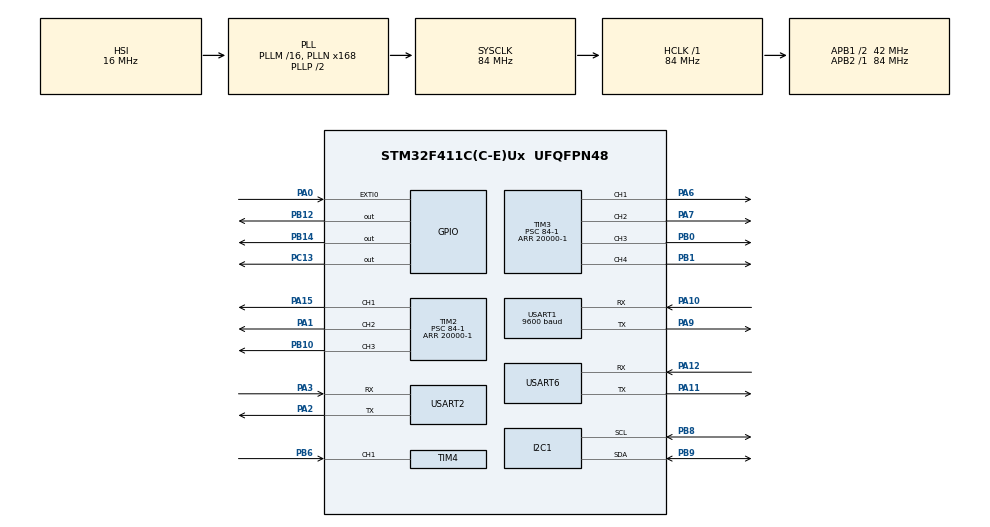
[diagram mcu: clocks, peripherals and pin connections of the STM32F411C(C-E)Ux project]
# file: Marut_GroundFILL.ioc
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FREERTOS.BinarySemaphores01=timer_sem,Dynamic,NULL,Available
FREERTOS.Tasks01=ArmDisarm,8,128,arm_disarm,Default,NULL,Static,ArmDisarmBuffer,ArmDisarmControlBlock;ModeHandler,8,128,mode_handler,Default,NULL,Static,ModeHandlerBuffer,ModeHandlerControlBlock;Debounce_Handle,8,128,debounce_task,Default,NULL,Static,Debounce_HandleBuffer,Debounce_HandleControlBlock;QuadTask,48,2024,quad_mode,Default,NULL,Static,QuadTaskBuffer,QuadTaskControlBlock;TelemetryTask,24,2024,telemetry_task,Default,NULL,Static,TelemetryTaskBuffer,TelemetryTaskControlBlock;FixedWingTask,48,2024,fw_mode,Default,NULL,Static,FixedWingTaskBuffer,FixedWingTaskControlBlock;VtolMode,48,2024,vtol_task,Default,NULL,Static,VtolModeBuffer,VtolModeControlBlock
FREERTOS.configENABLE_FPU=1
FREERTOS.configTOTAL_HEAP_SIZE=60000
FREERTOS.configUSE_NEWLIB_REENTRANT=1
I2C1.I2C_Mode=I2C_Fast
Mcu.Family=STM32F4
Mcu.Name=STM32F411C(C-E)Ux
Mcu.Package=UFQFPN48
NVIC.EXTI0_IRQn=true\:5\:0\:false\:false\:true\:true\:true\:true\:true
NVIC.PriorityGroup=NVIC_PRIORITYGROUP_4
NVIC.TIM1_TRG_COM_TIM11_IRQn=true\:15\:0\:false\:false\:true\:false\:false\:true\:true
NVIC.TIM1_UP_TIM10_IRQn=true\:5\:0\:false\:false\:true\:true\:true\:true\:true
NVIC.TimeBase=TIM1_TRG_COM_TIM11_IRQn
NVIC.TimeBaseIP=TIM11
PA0-WKUP.GPIO_ModeDefaultEXTI=GPIO_MODE_IT_FALLING
PA0-WKUP.GPIO_PuPd=GPIO_PULLUP
PA0-WKUP.Signal=GPXTI0
PA1.Signal=S_TIM2_CH2
PA10.Mode=Asynchronous
PA10.Signal=USART1_RX
PA11.Mode=Asynchronous
PA11.Signal=USART6_TX
PA12.Mode=Asynchronous
PA12.Signal=USART6_RX
PA13.Mode=Serial_Wire
PA13.Signal=SYS_JTMS-SWDIO
PA14.Mode=Serial_Wire
PA14.Signal=SYS_JTCK-SWCLK
PA15.Signal=S_TIM2_CH1_ETR
PA2.Mode=Asynchronous
PA2.Signal=USART2_TX
PA3.Mode=Asynchronous
PA3.Signal=USART2_RX
PA6.Signal=S_TIM3_CH1
PA7.Signal=S_TIM3_CH2
PA9.Mode=Asynchronous
PA9.Signal=USART1_TX
PB0.Signal=S_TIM3_CH3
PB1.Signal=S_TIM3_CH4
PB10.Signal=S_TIM2_CH3
PB12.Signal=GPIO_Output
PB14.Signal=GPIO_Output
PB6.Signal=S_TIM4_CH1
PB8.GPIO_Pu=GPIO_PULLUP
PB8.Mode=I2C
PB8.Signal=I2C1_SCL
PB9.GPIO_Pu=GPIO_PULLUP
PB9.Mode=I2C
PB9.Signal=I2C1_SDA
PC13-ANTI_TAMP.Signal=GPIO_Output
ProjectManager.HeapSize=0x200
ProjectManager.StackSize=0x400
ProjectManager.TargetToolchain=STM32CubeIDE
RCC.48MHZClocksFreq_Value=42000000
RCC.AHBFreq_Value=84000000
RCC.APB1CLKDivider=RCC_HCLK_DIV2
RCC.APB1Freq_Value=42000000
RCC.APB1TimFreq_Value=84000000
RCC.APB2Freq_Value=84000000
RCC.APB2TimFreq_Value=84000000
RCC.CortexFreq_Value=84000000
RCC.HCLKFreq_Value=84000000
RCC.HSE_VALUE=25000000
RCC.HSI_VALUE=16000000
RCC.LSE_VALUE=32768
RCC.PLLN=168
RCC.SYSCLKFreq_VALUE=84000000
RCC.SYSCLKSource=RCC_SYSCLKSOURCE_PLLCLK
RCC.VCOOutputFreq_Value=168000000
SH.S_TIM2_CH1_ETR.0=TIM2_CH1,PWM Generation1 CH1
SH.S_TIM2_CH2.0=TIM2_CH2,PWM Generation2 CH2
SH.S_TIM2_CH3.0=TIM2_CH3,PWM Generation3 CH3
SH.S_TIM3_CH1.0=TIM3_CH1,PWM Generation1 CH1
SH.S_TIM3_CH2.0=TIM3_CH2,PWM Generation2 CH2
SH.S_TIM3_CH3.0=TIM3_CH3,PWM Generation3 CH3
SH.S_TIM3_CH4.0=TIM3_CH4,PWM Generation4 CH4
SH.S_TIM4_CH1.0=TIM4_CH1,Input_Capture1_from_TI1
TIM10.Period=2499
TIM10.Prescaler=83
TIM2.Channel-PWM\ Generation1\ CH1=TIM_CHANNEL_1
TIM2.Channel-PWM\ Generation2\ CH2=TIM_CHANNEL_2
TIM2.Channel-PWM\ Generation3\ CH3=TIM_CHANNEL_3
TIM2.Period=20000-1
TIM2.Prescaler=84-1
TIM3.Channel-PWM\ Generation1\ CH1=TIM_CHANNEL_1
TIM3.Channel-PWM\ Generation2\ CH2=TIM_CHANNEL_2
TIM3.Channel-PWM\ Generation3\ CH3=TIM_CHANNEL_3
TIM3.Channel-PWM\ Generation4\ CH4=TIM_CHANNEL_4
TIM3.Period=20000-1
TIM3.Prescaler=84-1
TIM4.Channel-Input_Capture1_from_TI1=TIM_CHANNEL_1
TIM4.Prescaler=84-1
TIM9.Prescaler=84-1
USART1.BaudRate=9600
USART1.VirtualMode=VM_ASYNC
USART2.VirtualMode=VM_ASYNC
USART6.VirtualMode=VM_ASYNC
VP_FREERTOS_VS_CMSIS_V2.Mode=CMSIS_V2
VP_SYS_VS_tim11.Mode=TIM11
VP_TIM10_VS_ClockSourceINT.Mode=Enable_Timer
VP_TIM2_VS_ClockSourceINT.Mode=Internal
VP_TIM3_VS_ClockSourceINT.Mode=Internal
VP_TIM4_VS_ClockSourceINT.Mode=Internal
VP_TIM9_VS_ClockSourceINT.Mode=Internal
board=custom

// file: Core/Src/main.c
/* USER CODE BEGIN Header */
/**
 ******************************************************************************
 * @file           : main.c
 * @brief          : Main program body
 ******************************************************************************
 * @attention
 *
 * Copyright (c) 2026 STMicroelectronics.
 * All rights reserved.
 *
 * This software is licensed under terms that can be found in the LICENSE file
 * in the root directory of this software component.
 * If no LICENSE file comes with this software, it is provided AS-IS.
 *
 ******************************************************************************
 */
/* USER CODE END Header */

#include "main.h"
#include "cmsis_os.h"

/* USER CODE BEGIN Includes */

#include "mpu6050.h"
#include "bmp280.h"
#include <stdio.h>
#include <string.h>
#include <math.h>
#include "mav_messages.h"
#include "mavlink/common/mavlink.h"
#include  <stdint.h>

/* USER CODE END Includes */

typedef StaticTask_t osStaticThreadDef_t;

/* USER CODE BEGIN PTD */

#define EL_L_DIR   (+1)
#define EL_R_DIR   (-1)
#define AILERON_LEFT_CH   1
#define AILERON_RIGHT_CH  2

/* USER CODE END PTD */

/* USER CODE BEGIN PD */

#define PUTCHAR_PROTOTYPE int __io_putchar(int ch)

/* USER CODE END PD */

I2C_HandleTypeDef hi2c1;

TIM_HandleTypeDef htim2;
TIM_HandleTypeDef htim3;
TIM_HandleTypeDef htim4;
TIM_HandleTypeDef htim9;
TIM_HandleTypeDef htim10;

UART_HandleTypeDef huart1;
UART_HandleTypeDef huart2;
UART_HandleTypeDef huart6;

/* Definitions for ArmDisarm */

osThreadId_t ArmDisarmHandle;
uint32_t ArmDisarmBuffer[ 128 ];
osStaticThreadDef_t ArmDisarmControlBlock;
const osThreadAttr_t ArmDisarm_attributes = {
  .name = "ArmDisarm",
  .cb_mem = &ArmDisarmControlBlock,
  .cb_size = sizeof(ArmDisarmControlBlock),
  .stack_mem = &ArmDisarmBuffer[0],
  .stack_size = sizeof(ArmDisarmBuffer),
  .priority = (osPriority_t) osPriorityLow,
};

/* Definitions for ModeHandler */

osThreadId_t ModeHandlerHandle;
uint32_t ModeHandlerBuffer[ 128 ];
osStaticThreadDef_t ModeHandlerControlBlock;
const osThreadAttr_t ModeHandler_attributes = {
  .name = "ModeHandler",
  .cb_mem = &ModeHandlerControlBlock,
  .cb_size = sizeof(ModeHandlerControlBlock),
  .stack_mem = &ModeHandlerBuffer[0],
  .stack_size = sizeof(ModeHandlerBuffer),
  .priority = (osPriority_t) osPriorityLow,
};

/* Definitions for Debounce_Handle */

osThreadId_t Debounce_HandleHandle;
uint32_t Debounce_HandleBuffer[ 128 ];
osStaticThreadDef_t Debounce_HandleControlBlock;
const osThreadAttr_t Debounce_Handle_attributes = {
  .name = "Debounce_Handle",
  .cb_mem = &Debounce_HandleControlBlock,
  .cb_size = sizeof(Debounce_HandleControlBlock),
  .stack_mem = &Debounce_HandleBuffer[0],
  .stack_size = sizeof(Debounce_HandleBuffer),
  .priority = (osPriority_t) osPriorityLow,
};

/* Definitions for QuadTask */

osThreadId_t QuadTaskHandle;
uint32_t QuadTaskBuffer[ 2024 ];
osStaticThreadDef_t QuadTaskControlBlock;
const osThreadAttr_t QuadTask_attributes = {
  .name = "QuadTask",
  .cb_mem = &QuadTaskControlBlock,
  .cb_size = sizeof(QuadTaskControlBlock),
  .stack_mem = &QuadTaskBuffer[0],
  .stack_size = sizeof(QuadTaskBuffer),
  .priority = (osPriority_t) osPriorityRealtime,
};

/* Definitions for TelemetryTask */

osThreadId_t TelemetryTaskHandle;
uint32_t TelemetryTaskBuffer[ 2024 ];
osStaticThreadDef_t TelemetryTaskControlBlock;
const osThreadAttr_t TelemetryTask_attributes = {
  .name = "TelemetryTask",
  .cb_mem = &TelemetryTaskControlBlock,
  .cb_size = sizeof(TelemetryTaskControlBlock),
  .stack_mem = &TelemetryTaskBuffer[0],
  .stack_size = sizeof(TelemetryTaskBuffer),
  .priority = (osPriority_t) osPriorityNormal,
};

/* Definitions for FixedWingTask */

osThreadId_t FixedWingTaskHandle;
uint32_t FixedWingTaskBuffer[ 2024 ];
osStaticThreadDef_t FixedWingTaskControlBlock;
const osThreadAttr_t FixedWingTask_attributes = {
  .name = "FixedWingTask",
  .cb_mem = &FixedWingTaskControlBlock,
  .cb_size = sizeof(FixedWingTaskControlBlock),
  .stack_mem = &FixedWingTaskBuffer[0],
  .stack_size = sizeof(FixedWingTaskBuffer),
  .priority = (osPriority_t) osPriorityRealtime,
};

/* Definitions for VtolMode */

osThreadId_t VtolModeHandle;
uint32_t VtolModeBuffer[ 2024 ];
osStaticThreadDef_t VtolModeControlBlock;
const osThreadAttr_t VtolMode_attributes = {
  .name = "VtolMode",
  .cb_mem = &VtolModeControlBlock,
  .cb_size = sizeof(VtolModeControlBlock),
  .stack_mem = &VtolModeBuffer[0],
  .stack_size = sizeof(VtolModeBuffer),
  .priority = (osPriority_t) osPriorityRealtime,
};

/* Definitions for timer_sem */

osSemaphoreId_t timer_semHandle;
const osSemaphoreAttr_t timer_sem_attributes = {
  .name = "timer_sem"
};

/* USER CODE BEGIN PV */

volatile uint16_t ppm_live_channels[10];
volatile uint16_t ppm_ready_channels[10];

uint16_t display_channels[10]; // NOTE : Keep Channels uniform
volatile uint8_t pulse = 1;

volatile uint8_t ppm_new_data_flag = 0;
volatile uint32_t last_capture = 0;

char msg[100];

volatile float pulse_width_us_1;
volatile float pulse_width_us_2;
volatile float pulse_width_us_3;
volatile float pulse_width_us_4;
volatile float pulse_width_us_5;
volatile float pulse_width_us_6;

volatile float batt_value = 0;
volatile float adc_value = 0;
volatile float internal_temp = 0;
volatile float v_out = 0;

float dt = 0;

static int disarm_flag;
static int arm_flag;
 int button_counter;
static int mode_flag = 0;
static int temp_mode_flag = 0;

int elevon_left = 0;
int elevon_right = 0;

float calibration_const_global_roll_accel = 0;
float calibration_const_global_pitch_accel = 0;

float calibration_const_global_roll_gyro = 0;
float calibration_const_global_pitch_gyro = 0;

float calibration_const_global_gx = 0;
float calibration_const_global_gy = 0;
float calibration_const_global_gz = 0;

float calibration_const_global_ax = 0;
float calibration_const_global_ay = 0;
float calibration_const_global_az = 0;

float kalman_roll = 0.0f;
float kalman_pitch = 0.0f;
float roll_snap = 0.0f;
float pitch_snap = 0.0f;
int32_t altitude_snap = 0.0f;

float desired_rate_roll;
float desired_rate_pitch;
float desired_rate_yaw;

float error_rate_roll;
float error_rate_pitch;
float error_rate_yaw;

float input_roll;
float input_throttle;
float input_pitch;
float input_yaw;

float prev_error_rate_roll;
float prev_error_rate_pitch;
float prev_error_rate_yaw;

float prev_iterm_rate_roll;
float prev_iterm_rate_pitch;
float prev_iterm_rate_yaw;

float PIDReturn[] = { 0, 0, 0 };

float desired_angle_roll;
float desired_angle_pitch;

float error_angle_roll = 0;
float error_angle_pitch = 0;

float prev_error_angle_roll = 0;
float prev_error_angle_pitch = 0;

float prev_iterm_angle_roll=0;
float prev_iterm_angle_pitch=0;

int quad_mode_flag = 0;

float acc_z_inertial = 0.0f;

float velocity_vertical = 0.0f;

uint32_t last_time;

uint32_t M1 = 0;
uint32_t M2 = 0;
uint32_t M3 = 0;
uint32_t M4 = 0;

float gyro_x = 0;
float gyro_y = 0;
float gyro_z = 0;

float accel_roll = 0;
float accel_pitch = 0;

float relative_alt_meters = 0.0f;
float qmc_mag_ext = 0.0f;

float gx;
float gy;
float gz;

float p_rate_roll_s = 0.88f;
float p_rate_pitch_s = 0.88f;
float p_rate_yaw_s = 3;

float i_rate_roll_s = 0.31f;
float i_rate_pitch_s = 0.31f;
float i_rate_yaw_s = 12;

float d_rate_roll_s = 0.01f;
float d_rate_pitch_s = 0.01f;
float d_rate_yaw_s = 0;

float p_angle_roll_s = 1.11f;
float p_angle_pitch_s = 1.11f;

float i_angle_roll_s = 0.31f;
float i_angle_pitch_s = 0.31f;

float d_angle_roll_s = 0.011f;
float d_angle_pitch_s = 0.011f;

float p_rate_roll_r = 0.82f;
float p_rate_pitch_r = 0.82f;
float p_rate_yaw_r = 2.5;

float i_rate_roll_r = 0.72f;
float i_rate_pitch_r = 0.72f;
float i_rate_yaw_r = 12;

float d_rate_roll_r = 0.011f;
float d_rate_pitch_r = 0.011f;
float d_rate_yaw_r = 0;

float xx = 0;
float yy = 0;

uint32_t current_tick_quad = 0;
uint32_t current_tick_fw = 0;
uint32_t current_tick_vtol = 0;

float alt_ext = 0;
float mag_ext = 0;

int mode_task = 0;
int quad_task = 0;
int bounce_task = 0;
int telemetery_task = 0;
int arm_disarm_task = 0;
int itr_running = 100;

uint32_t t1;
uint32_t t2;
uint32_t dt_n;
int tim_flag = 0;

static uint32_t last = 0;
uint32_t now;

int m_t = 0;

int measure = 0;

float g_global_x = 0;
float g_global_y = 0;
float g_global_z = 0;

float a_global_x = 0;
float a_global_y = 0;
float a_global_z = 0;

int rc_max_us = 2000;
int rc_min_us = 1000;

/* USER CODE END PV */

void SystemClock_Config(void);
static void MX_GPIO_Init(void);
static void MX_I2C1_Init(void);
static void MX_TIM2_Init(void);
static void MX_TIM3_Init(void);
static void MX_TIM4_Init(void);
static void MX_TIM9_Init(void);
static void MX_TIM10_Init(void);
static void MX_USART1_UART_Init(void);
static void MX_USART2_UART_Init(void);
static void MX_USART6_UART_Init(void);
void arm_disarm(void *argument);
void mode_handler(void *argument);
void debounce_task(void *argument);
void quad_mode(void *argument);
void telemetry_task(void *argument);
void fw_mode(void *argument);
void vtol_task(void *argument);
void actuator_emergency_stop_latch(void);

/* USER CODE BEGIN 0 */
PUTCHAR_PROTOTYPE {
	/* Place your implementation of fputc here */
	/* e.g. write a character to the USART1 and Loop until the end of transmission */
	HAL_UART_Transmit(&huart1, (uint8_t*) &ch, 1, 0xFFFF);

	return ch;
}

void HAL_GPIO_EXTI_Callback(uint16_t GPIO_Pin) {
	if (GPIO_Pin == GPIO_PIN_0) {

		temp_mode_flag++;
		if (temp_mode_flag == 3) {
			temp_mode_flag = 0;
		}
	}
}

void HAL_TIM_IC_CaptureCallback(TIM_HandleTypeDef *htim) {

	if (htim->Instance == TIM4 && htim->Channel == HAL_TIM_ACTIVE_CHANNEL_1) {

		itr_running = 1;

		uint32_t current_capture = HAL_TIM_ReadCapturedValue(htim,
		TIM_CHANNEL_1);

		uint16_t pulse_width;

		if (current_capture > last_capture) {
			pulse_width = current_capture - last_capture;
		} else {
			pulse_width = (65535 - last_capture) + current_capture;
		}

		if (pulse_width > 3000) {

			memcpy((void*) ppm_ready_channels, (void*) ppm_live_channels,
					sizeof(ppm_live_channels));
			ppm_new_data_flag = 1;

			pulse = 1;
		}

		else {
			switch (pulse) {
			case 1:
				ppm_live_channels[0] = pulse_width;
				pulse++;
				break;
			case 2:
				ppm_live_channels[1] = pulse_width;
				pulse++;
				break;
			case 3:
				ppm_live_channels[2] = pulse_width;
				pulse++;
				break;
			case 4:
				ppm_live_channels[3] = pulse_width;
				pulse++;
				break;
			case 5:
				ppm_live_channels[4] = pulse_width;
				pulse++;
				break;
			case 6:
				ppm_live_channels[5] = pulse_width;
				pulse++;
				break;
			case 7:
				ppm_live_channels[6] = pulse_width;
				pulse++;
				break;
			case 8:
				ppm_live_channels[7] = pulse_width;
				pulse++;
				break;
			case 9:
				ppm_live_channels[8] = pulse_width;
				pulse++;
				break;
			case 10:
				ppm_live_channels[9] = pulse_width;
				pulse++;
				break;
			default:
				pulse++;
				break;
			}
		}
		last_capture = current_capture;

		itr_running = 0;
	}

}

uint32_t map_rc_to_motor(uint16_t rcValue) {

	if (rcValue > rc_max_us) {
		rcValue = rc_max_us;
	}
	if (rcValue < rc_min_us) {
		rcValue = rc_min_us;
	}

	uint32_t motor_value = (uint32_t) (rcValue - rc_min_us) * 180 / (rc_max_us - rc_min_us);
	return motor_value;

}

float negative_range(uint32_t motor_value)
{
	return (((float) motor_value - 90.0f) / 90.0f);
}

float range_converter(uint16_t old_value, uint16_t old_min, uint16_t old_max,
		float new_min, float new_max) {

	if (old_max == old_min)
	{
		return new_min;
	}

	float old_range = (float) (old_max - old_min);
	float new_range = (new_max - new_min);

	float new_value = ((((float) (old_value - old_min) * new_range) / old_range)
			+ new_min);

	return new_value;
}

void set_servo_angle(uint32_t angle, int channel)
{

	if (angle > 180)
	{
		angle = 180;
	}

	uint32_t min_pulse_width = 500;
	uint32_t max_pulse_width = 2500;

	uint32_t pulse = ((angle * (max_pulse_width - min_pulse_width)) / 180)
			+ min_pulse_width;

	if (channel == 1)
	{
		__HAL_TIM_SET_COMPARE(&htim2, TIM_CHANNEL_1, pulse);
	}
	else if (channel == 2)
	{
		__HAL_TIM_SET_COMPARE(&htim2, TIM_CHANNEL_2, pulse);
	}
	else if (channel == 3)
	{
		__HAL_TIM_SET_COMPARE(&htim2, TIM_CHANNEL_3, pulse);
	}
	else if (channel == 4)
	{
		__HAL_TIM_SET_COMPARE(&htim3, TIM_CHANNEL_1, pulse);
	}
	else if (channel == 5)
	{
		__HAL_TIM_SET_COMPARE(&htim3, TIM_CHANNEL_2, pulse);
	}
	else if (channel == 6)
	{
		__HAL_TIM_SET_COMPARE(&htim3, TIM_CHANNEL_3, pulse);
	}
	else if (channel == 7)
	{
		__HAL_TIM_SET_COMPARE(&htim3, TIM_CHANNEL_4, pulse);
	}
}

void set_raw_ccr(int ccr_val, int channel)
{
	if (channel == 1)
	{
		__HAL_TIM_SET_COMPARE(&htim2, TIM_CHANNEL_1, ccr_val);
	}
	else if (channel == 2)
	{
		__HAL_TIM_SET_COMPARE(&htim2, TIM_CHANNEL_2, ccr_val);
	}
	else if (channel == 3)
	{
		__HAL_TIM_SET_COMPARE(&htim2, TIM_CHANNEL_3, ccr_val);
	}
	else if (channel == 4)
	{
		__HAL_TIM_SET_COMPARE(&htim3, TIM_CHANNEL_1, ccr_val);
	}
	else if (channel == 5)
	{
		__HAL_TIM_SET_COMPARE(&htim3, TIM_CHANNEL_2, ccr_val);
	}
	else if (channel == 6)
	{
		__HAL_TIM_SET_COMPARE(&htim3, TIM_CHANNEL_3, ccr_val);
	}
	else if (channel == 7)
	{
		__HAL_TIM_SET_COMPARE(&htim3, TIM_CHANNEL_4, ccr_val);
	}
}

void pid_equation(float error, float p, float i, float d, float prev_error,
		float prev_iterm) {
	float pterm = p * error;
	float iterm = prev_iterm + i * (error + prev_error) * 0.0025 / 2;
	static int saturation_limit = 400;

	if (iterm > saturation_limit)
	{
		iterm = saturation_limit;
	}
	else if (iterm < -saturation_limit)
	{
		iterm = -saturation_limit;
	}

	float Dterm = d * (error - prev_error) / 0.0025f;
	float PID_output = pterm + iterm + Dterm;

	if (PID_output > saturation_limit)
	{
		PID_output = saturation_limit;
	}
	else if (PID_output < -saturation_limit)
	{
		PID_output = -saturation_limit;
	}

	PIDReturn[0] = PID_output;
	PIDReturn[1] = error;
	PIDReturn[2] = iterm;
}

float map_rc_to_pid(uint16_t rc_value) {
	if (rc_value > rc_max_us)
	{
		rc_value = rc_max_us;
	}
	if (rc_value < rc_min_us)
	{
		rc_value = rc_min_us;
	}
	return (rc_value - rc_min_us) * 10.0f / (rc_max_us - rc_min_us);
}

void reset_pid(void) {
	prev_error_rate_roll = 0;
	prev_error_rate_pitch = 0;
	prev_error_rate_yaw = 0;

	prev_iterm_rate_roll = 0;
	prev_iterm_rate_pitch = 0;
	prev_iterm_rate_yaw = 0;

	prev_error_angle_roll = 0;
	prev_error_angle_pitch = 0;
	prev_iterm_angle_roll = 0;
	prev_iterm_angle_pitch = 0;
}

void servo_test_sweep(void) {

	int pulse;

	/* Start PWM on all servo channels */
	HAL_TIM_PWM_Start(&htim2, TIM_CHANNEL_1);
	HAL_TIM_PWM_Start(&htim2, TIM_CHANNEL_2);
	HAL_TIM_PWM_Start(&htim2, TIM_CHANNEL_3);
	HAL_TIM_PWM_Start(&htim3, TIM_CHANNEL_1);
	HAL_TIM_PWM_Start(&htim3, TIM_CHANNEL_2);
	HAL_TIM_PWM_Start(&htim3, TIM_CHANNEL_3);
	HAL_TIM_PWM_Start(&htim3, TIM_CHANNEL_4);

	/* Sweep from 1000 to 2000 */
	for (pulse = 500; pulse <= 2000; pulse += 50) {

		__HAL_TIM_SET_COMPARE(&htim2, TIM_CHANNEL_1, pulse);
		__HAL_TIM_SET_COMPARE(&htim2, TIM_CHANNEL_2, pulse);
		__HAL_TIM_SET_COMPARE(&htim2, TIM_CHANNEL_3, pulse);

		__HAL_TIM_SET_COMPARE(&htim3, TIM_CHANNEL_1, pulse);
		__HAL_TIM_SET_COMPARE(&htim3, TIM_CHANNEL_2, pulse);
		__HAL_TIM_SET_COMPARE(&htim3, TIM_CHANNEL_3, pulse);
		__HAL_TIM_SET_COMPARE(&htim3, TIM_CHANNEL_4, pulse);

		osDelay(500);
	}

	/* Sweep back from 2000 to 1000 */

	for (pulse = 2000; pulse >= 1000; pulse -= 50) {
		__HAL_TIM_SET_COMPARE(&htim2, TIM_CHANNEL_1, pulse);
		__HAL_TIM_SET_COMPARE(&htim2, TIM_CHANNEL_2, pulse);
		__HAL_TIM_SET_COMPARE(&htim2, TIM_CHANNEL_3, pulse);

		__HAL_TIM_SET_COMPARE(&htim3, TIM_CHANNEL_1, pulse);
		__HAL_TIM_SET_COMPARE(&htim3, TIM_CHANNEL_2, pulse);
		__HAL_TIM_SET_COMPARE(&htim3, TIM_CHANNEL_3, pulse);
		__HAL_TIM_SET_COMPARE(&htim3, TIM_CHANNEL_4, pulse);

		osDelay(500);
	}

}

void motor_check(void) {
	int pwm;
	int start_pwm = 800;
	int target_pwm = 1500;
	int step = 1;

	/* Start PWM if not already running */
	HAL_TIM_PWM_Start(&htim2, TIM_CHANNEL_1);
	HAL_TIM_PWM_Start(&htim2, TIM_CHANNEL_2);
	HAL_TIM_PWM_Start(&htim2, TIM_CHANNEL_3);

	HAL_TIM_PWM_Start(&htim3, TIM_CHANNEL_1);
	HAL_TIM_PWM_Start(&htim3, TIM_CHANNEL_2);
	HAL_TIM_PWM_Start(&htim3, TIM_CHANNEL_3);
	HAL_TIM_PWM_Start(&htim3, TIM_CHANNEL_4);

	for (pwm = start_pwm; pwm <= target_pwm; pwm += step) {
		set_raw_ccr(pwm, 1);
		set_raw_ccr(pwm, 2);
		set_raw_ccr(pwm, 3);
		set_raw_ccr(pwm, 5);
		set_raw_ccr(pwm, 6);
		set_raw_ccr(pwm, 4);
		set_raw_ccr(pwm, 7);

		m_t = pwm;

		HAL_Delay(20); // slow ramp
	}

	while (1) {
		set_raw_ccr(pwm, 1);
		set_raw_ccr(pwm, 2);
		set_raw_ccr(pwm, 3);
		set_raw_ccr(target_pwm, 5);
		set_raw_ccr(target_pwm, 6);
		set_raw_ccr(target_pwm, 4);
		set_raw_ccr(target_pwm, 7);

		HAL_Delay(20);

	}
}

/* Pushkar, 22-05-2026
 *  we can add modes later as per modes of FCU i.e VTOL, QUAD or FXDW*/

/**
  * @brief  Function to lock the Actuators Manually
  * @note  	Use In the respective modes i.e VTOL,QUAD,FXDW , Check before every Control loop !
  * 		After triggering, a system reset is required.
  * @param  None
  * @retval None

 * NOTE : Function uses Hard infinite loop , do not use while(1)
 */

void actuator_emergency_stop_latch(void)
{
	if(display_channels[9]>1500 ){

	    if (mode_flag == 0) 	// Quad
	    {
	    	M1 = 1000;
			M2 = 1000;
			M3 = 1000;
			M4 = 1000;

			set_raw_ccr(M1, 5);
			set_raw_ccr(M4, 7);
			set_raw_ccr(M3, 4);
			set_raw_ccr(M2, 6);

			arm_flag = 0;
			disarm_flag = 1;

			HAL_TIM_PWM_Stop(&htim2, TIM_CHANNEL_1);
			HAL_TIM_PWM_Stop(&htim2, TIM_CHANNEL_2);
			HAL_TIM_PWM_Stop(&htim2, TIM_CHANNEL_3);

			HAL_TIM_PWM_Stop(&htim3, TIM_CHANNEL_1);
			HAL_TIM_PWM_Stop(&htim3, TIM_CHANNEL_2);
			HAL_TIM_PWM_Stop(&htim3, TIM_CHANNEL_3);
			HAL_TIM_PWM_Stop(&htim3, TIM_CHANNEL_4);

			for(;;){}

	    }
	    else if (mode_flag == 1)     // Fixed wing
	    {
	    	arm_flag = 0;
	    	disarm_flag = 1;

	        set_raw_ccr(1000, 6);   // Motor off
	        set_raw_ccr(1500, 4);   // Elevon neutral
	        set_raw_ccr(1500, 5);   // Elevon neutral

	        for(;;){}
	    }
	    else if (mode_flag == 2)     // VTOL
	    {
	    	arm_flag = 0;
	    	disarm_flag = 1;

	        for(;;){}
	    }
	}
	else{
		__NOP();
	}
}

/* USER CODE END 0 */

int main(void)
{

  /* MCU Configuration--------------------------------------------------------*/

  /* Reset of all peripherals, Initializes the Flash interface and the Systick. */
  HAL_Init();

  /* Configure the system clock */
  SystemClock_Config();

  /* Initialize all configured peripherals */
  MX_GPIO_Init();
  MX_I2C1_Init();
  MX_TIM2_Init();
  MX_TIM3_Init();
  MX_TIM4_Init();
  MX_TIM9_Init();
  MX_TIM10_Init();
  MX_USART1_UART_Init();
  MX_USART2_UART_Init();
  MX_USART6_UART_Init();

  /* USER CODE BEGIN 2 */
	__HAL_RCC_SYSCFG_CLK_ENABLE();

    // initilization of sensors and calibration
	HAL_GPIO_WritePin(GPIOC, GPIO_PIN_13, GPIO_PIN_SET);
	mpu_init();
	HAL_Delay(100);
	bmp280_i2c_setup();

	HAL_Delay(1000);

	/*	-replaced mpu_roll_pitch_calibration_accel() , mpu_gyro_calibration() to struct-based outputs
		-now it returns a struct with all calibration values , instead of calling multiple functions */
	accel_roll_pitch_calib_constant roll_pitch_calib_offset;
	mpu_roll_pitch_calibration_accel(&roll_pitch_calib_offset);

	calibration_const_global_roll_accel = roll_pitch_calib_offset.rc;
	calibration_const_global_pitch_accel = roll_pitch_calib_offset.pc;

	gyro_calib gyro_calib_offset;
	mpu_gyro_calibration(&gyro_calib_offset);

	calibration_const_global_gx = gyro_calib_offset.gx_offset;
	calibration_const_global_gy = gyro_calib_offset.gy_offset;
	calibration_const_global_gz = gyro_calib_offset.gz_offset;

	HAL_GPIO_WritePin(GPIOC, GPIO_PIN_13, GPIO_PIN_RESET); // onboard led on

	HAL_TIM_IC_Start_IT(&htim4, TIM_CHANNEL_1);

  /* USER CODE END 2 */

  /* Init scheduler */
  osKernelInitialize();

  /* Create the semaphores(s) */
  /* creation of timer_sem */
  timer_semHandle = osSemaphoreNew(1, 1, &timer_sem_attributes);

  /* USER CODE BEGIN RTOS_TIMERS */
	/* start timers, add new ones, ... */
  HAL_TIM_Base_Start_IT(&htim10);
  /* USER CODE END RTOS_TIMERS */

  /* Create the thread(s) */
  /* creation of ArmDisarm */
  ArmDisarmHandle = osThreadNew(arm_disarm, NULL, &ArmDisarm_attributes);

  /* creation of ModeHandler */
  ModeHandlerHandle = osThreadNew(mode_handler, NULL, &ModeHandler_attributes);

  /* creation of Debounce_Handle */
  Debounce_HandleHandle = osThreadNew(debounce_task, NULL, &Debounce_Handle_attributes);

  /* creation of QuadTask */
  //QuadTaskHandle = osThreadNew(quad_mode, NULL, &QuadTask_attributes);

  /* creation of TelemetryTask */
  TelemetryTaskHandle = osThreadNew(telemetry_task, NULL, &TelemetryTask_attributes);

  /* creation of FixedWingTask */
  //FixedWingTaskHandle = osThreadNew(fw_mode, NULL, &FixedWingTask_attributes);

  /* creation of VtolMode */
  //VtolModeHandle = osThreadNew(vtol_task, NULL, &VtolMode_attributes);

  /* Start scheduler */
  osKernelStart();

  /* We should never get here as control is now taken by the scheduler */

  /* Infinite loop */
	while (1) {

	}
}

void SystemClock_Config(void)
{
  RCC_OscInitTypeDef RCC_OscInitStruct = {0};
  RCC_ClkInitTypeDef RCC_ClkInitStruct = {0};

  /** Configure the main internal regulator output voltage
  */
  __HAL_RCC_PWR_CLK_ENABLE();
  __HAL_PWR_VOLTAGESCALING_CONFIG(PWR_REGULATOR_VOLTAGE_SCALE1);

  /** Initializes the RCC Oscillators according to the specified parameters
  * in the RCC_OscInitTypeDef structure.
  */
  RCC_OscInitStruct.OscillatorType = RCC_OSCILLATORTYPE_HSI;
  RCC_OscInitStruct.HSIState = RCC_HSI_ON;
  RCC_OscInitStruct.HSICalibrationValue = RCC_HSICALIBRATION_DEFAULT;
  RCC_OscInitStruct.PLL.PLLState = RCC_PLL_ON;
  RCC_OscInitStruct.PLL.PLLSource = RCC_PLLSOURCE_HSI;
  RCC_OscInitStruct.PLL.PLLM = 16;
  RCC_OscInitStruct.PLL.PLLN = 168;
  RCC_OscInitStruct.PLL.PLLP = RCC_PLLP_DIV2;
  RCC_OscInitStruct.PLL.PLLQ = 4;
  if (HAL_RCC_OscConfig(&RCC_OscInitStruct) != HAL_OK)
  {
    Error_Handler();
  }

  /** Initializes the CPU, AHB and APB buses clocks
  */
  RCC_ClkInitStruct.ClockType = RCC_CLOCKTYPE_HCLK|RCC_CLOCKTYPE_SYSCLK
                              |RCC_CLOCKTYPE_PCLK1|RCC_CLOCKTYPE_PCLK2;
  RCC_ClkInitStruct.SYSCLKSource = RCC_SYSCLKSOURCE_PLLCLK;
  RCC_ClkInitStruct.AHBCLKDivider = RCC_SYSCLK_DIV1;
  RCC_ClkInitStruct.APB1CLKDivider = RCC_HCLK_DIV2;
  RCC_ClkInitStruct.APB2CLKDivider = RCC_HCLK_DIV1;

  if (HAL_RCC_ClockConfig(&RCC_ClkInitStruct, FLASH_LATENCY_2) != HAL_OK)
  {
    Error_Handler();
  }
}

static void MX_I2C1_Init(void)
{

  hi2c1.Instance = I2C1;
  hi2c1.Init.ClockSpeed = 400000;
  hi2c1.Init.DutyCycle = I2C_DUTYCYCLE_2;
  hi2c1.Init.OwnAddress1 = 0;
  hi2c1.Init.AddressingMode = I2C_ADDRESSINGMODE_7BIT;
  hi2c1.Init.DualAddressMode = I2C_DUALADDRESS_DISABLE;
  hi2c1.Init.OwnAddress2 = 0;
  hi2c1.Init.GeneralCallMode = I2C_GENERALCALL_DISABLE;
  hi2c1.Init.NoStretchMode = I2C_NOSTRETCH_DISABLE;
  if (HAL_I2C_Init(&hi2c1) != HAL_OK)
  {
    Error_Handler();
  }

}

static void MX_TIM2_Init(void)
{

  TIM_ClockConfigTypeDef sClockSourceConfig = {0};
  TIM_MasterConfigTypeDef sMasterConfig = {0};
  TIM_OC_InitTypeDef sConfigOC = {0};

  htim2.Instance = TIM2;
  htim2.Init.Prescaler = 84-1;
  htim2.Init.CounterMode = TIM_COUNTERMODE_UP;
  htim2.Init.Period = 20000-1;
  htim2.Init.ClockDivision = TIM_CLOCKDIVISION_DIV1;
  htim2.Init.AutoReloadPreload = TIM_AUTORELOAD_PRELOAD_DISABLE;
  if (HAL_TIM_Base_Init(&htim2) != HAL_OK)
  {
    Error_Handler();
  }
  sClockSourceConfig.ClockSource = TIM_CLOCKSOURCE_INTERNAL;
  if (HAL_TIM_ConfigClockSource(&htim2, &sClockSourceConfig) != HAL_OK)
  {
    Error_Handler();
  }
  if (HAL_TIM_PWM_Init(&htim2) != HAL_OK)
  {
    Error_Handler();
  }
  sMasterConfig.MasterOutputTrigger = TIM_TRGO_RESET;
  sMasterConfig.MasterSlaveMode = TIM_MASTERSLAVEMODE_DISABLE;
  if (HAL_TIMEx_MasterConfigSynchronization(&htim2, &sMasterConfig) != HAL_OK)
  {
    Error_Handler();
  }
  sConfigOC.OCMode = TIM_OCMODE_PWM1;
  sConfigOC.Pulse = 0;
  sConfigOC.OCPolarity = TIM_OCPOLARITY_HIGH;
  sConfigOC.OCFastMode = TIM_OCFAST_DISABLE;
  if (HAL_TIM_PWM_ConfigChannel(&htim2, &sConfigOC, TIM_CHANNEL_1) != HAL_OK)
  {
    Error_Handler();
  }
  if (HAL_TIM_PWM_ConfigChannel(&htim2, &sConfigOC, TIM_CHANNEL_2) != HAL_OK)
  {
    Error_Handler();
  }
  if (HAL_TIM_PWM_ConfigChannel(&htim2, &sConfigOC, TIM_CHANNEL_3) != HAL_OK)
  {
    Error_Handler();
  }
  HAL_TIM_MspPostInit(&htim2);

}

static void MX_TIM3_Init(void)
{

  TIM_ClockConfigTypeDef sClockSourceConfig = {0};
  TIM_MasterConfigTypeDef sMasterConfig = {0};
  TIM_OC_InitTypeDef sConfigOC = {0};

  htim3.Instance = TIM3;
  htim3.Init.Prescaler = 84-1;
  htim3.Init.CounterMode = TIM_COUNTERMODE_UP;
  htim3.Init.Period = 20000-1;
  htim3.Init.ClockDivision = TIM_CLOCKDIVISION_DIV1;
  htim3.Init.AutoReloadPreload = TIM_AUTORELOAD_PRELOAD_DISABLE;
  if (HAL_TIM_Base_Init(&htim3) != HAL_OK)
  {
    Error_Handler();
  }
  sClockSourceConfig.ClockSource = TIM_CLOCKSOURCE_INTERNAL;
  if (HAL_TIM_ConfigClockSource(&htim3, &sClockSourceConfig) != HAL_OK)
  {
    Error_Handler();
  }
  if (HAL_TIM_PWM_Init(&htim3) != HAL_OK)
  {
    Error_Handler();
  }
  sMasterConfig.MasterOutputTrigger = TIM_TRGO_RESET;
  sMasterConfig.MasterSlaveMode = TIM_MASTERSLAVEMODE_DISABLE;
  if (HAL_TIMEx_MasterConfigSynchronization(&htim3, &sMasterConfig) != HAL_OK)
  {
    Error_Handler();
  }
  sConfigOC.OCMode = TIM_OCMODE_PWM1;
  sConfigOC.Pulse = 0;
  sConfigOC.OCPolarity = TIM_OCPOLARITY_HIGH;
  sConfigOC.OCFastMode = TIM_OCFAST_DISABLE;
  if (HAL_TIM_PWM_ConfigChannel(&htim3, &sConfigOC, TIM_CHANNEL_1) != HAL_OK)
  {
    Error_Handler();
  }
  if (HAL_TIM_PWM_ConfigChannel(&htim3, &sConfigOC, TIM_CHANNEL_2) != HAL_OK)
  {
    Error_Handler();
  }
  if (HAL_TIM_PWM_ConfigChannel(&htim3, &sConfigOC, TIM_CHANNEL_3) != HAL_OK)
  {
    Error_Handler();
  }
  if (HAL_TIM_PWM_ConfigChannel(&htim3, &sConfigOC, TIM_CHANNEL_4) != HAL_OK)
  {
    Error_Handler();
  }
  HAL_TIM_MspPostInit(&htim3);

}

static void MX_TIM4_Init(void)
{

  TIM_ClockConfigTypeDef sClockSourceConfig = {0};
  TIM_MasterConfigTypeDef sMasterConfig = {0};
  TIM_IC_InitTypeDef sConfigIC = {0};

  htim4.Instance = TIM4;
  htim4.Init.Prescaler = 84-1;
  htim4.Init.CounterMode = TIM_COUNTERMODE_UP;
  htim4.Init.Period = 65535;
  htim4.Init.ClockDivision = TIM_CLOCKDIVISION_DIV1;
  htim4.Init.AutoReloadPreload = TIM_AUTORELOAD_PRELOAD_DISABLE;
  if (HAL_TIM_Base_Init(&htim4) != HAL_OK)
  {
    Error_Handler();
  }
  sClockSourceConfig.ClockSource = TIM_CLOCKSOURCE_INTERNAL;
  if (HAL_TIM_ConfigClockSource(&htim4, &sClockSourceConfig) != HAL_OK)
  {
    Error_Handler();
  }
  if (HAL_TIM_IC_Init(&htim4) != HAL_OK)
  {
    Error_Handler();
  }
  sMasterConfig.MasterOutputTrigger = TIM_TRGO_RESET;
  sMasterConfig.MasterSlaveMode = TIM_MASTERSLAVEMODE_DISABLE;
  if (HAL_TIMEx_MasterConfigSynchronization(&htim4, &sMasterConfig) != HAL_OK)
  {
    Error_Handler();
  }
  sConfigIC.ICPolarity = TIM_INPUTCHANNELPOLARITY_RISING;
  sConfigIC.ICSelection = TIM_ICSELECTION_DIRECTTI;
  sConfigIC.ICPrescaler = TIM_ICPSC_DIV1;
  sConfigIC.ICFilter = 0;
  if (HAL_TIM_IC_ConfigChannel(&htim4, &sConfigIC, TIM_CHANNEL_1) != HAL_OK)
  {
    Error_Handler();
  }

}

static void MX_TIM9_Init(void)
{

  TIM_ClockConfigTypeDef sClockSourceConfig = {0};

  htim9.Instance = TIM9;
  htim9.Init.Prescaler = 84-1;
  htim9.Init.CounterMode = TIM_COUNTERMODE_UP;
  htim9.Init.Period = 65535;
  htim9.Init.ClockDivision = TIM_CLOCKDIVISION_DIV1;
  htim9.Init.AutoReloadPreload = TIM_AUTORELOAD_PRELOAD_DISABLE;
  if (HAL_TIM_Base_Init(&htim9) != HAL_OK)
  {
    Error_Handler();
  }
  sClockSourceConfig.ClockSource = TIM_CLOCKSOURCE_INTERNAL;
  if (HAL_TIM_ConfigClockSource(&htim9, &sClockSourceConfig) != HAL_OK)
  {
    Error_Handler();
  }

}

static void MX_TIM10_Init(void)
{

  htim10.Instance = TIM10;
  htim10.Init.Prescaler = 83;
  htim10.Init.CounterMode = TIM_COUNTERMODE_UP;
  htim10.Init.Period = 2499;
  htim10.Init.ClockDivision = TIM_CLOCKDIVISION_DIV1;
  htim10.Init.AutoReloadPreload = TIM_AUTORELOAD_PRELOAD_DISABLE;
  if (HAL_TIM_Base_Init(&htim10) != HAL_OK)
  {
    Error_Handler();
  }

}

static void MX_USART1_UART_Init(void)
{

  huart1.Instance = USART1;
  huart1.Init.BaudRate = 9600;
  huart1.Init.WordLength = UART_WORDLENGTH_8B;
  huart1.Init.StopBits = UART_STOPBITS_1;
  huart1.Init.Parity = UART_PARITY_NONE;
  huart1.Init.Mode = UART_MODE_TX_RX;
  huart1.Init.HwFlowCtl = UART_HWCONTROL_NONE;
  huart1.Init.OverSampling = UART_OVERSAMPLING_16;
  if (HAL_UART_Init(&huart1) != HAL_OK)
  {
    Error_Handler();
  }

}

static void MX_USART2_UART_Init(void)
{

  huart2.Instance = USART2;
  huart2.Init.BaudRate = 115200;
  huart2.Init.WordLength = UART_WORDLENGTH_8B;
  huart2.Init.StopBits = UART_STOPBITS_1;
  huart2.Init.Parity = UART_PARITY_NONE;
  huart2.Init.Mode = UART_MODE_TX_RX;
  huart2.Init.HwFlowCtl = UART_HWCONTROL_NONE;
  huart2.Init.OverSampling = UART_OVERSAMPLING_16;
  if (HAL_UART_Init(&huart2) != HAL_OK)
  {
    Error_Handler();
  }

}

static void MX_USART6_UART_Init(void)
{

  huart6.Instance = USART6;
  huart6.Init.BaudRate = 115200;
  huart6.Init.WordLength = UART_WORDLENGTH_8B;
  huart6.Init.StopBits = UART_STOPBITS_1;
  huart6.Init.Parity = UART_PARITY_NONE;
  huart6.Init.Mode = UART_MODE_TX_RX;
  huart6.Init.HwFlowCtl = UART_HWCONTROL_NONE;
  huart6.Init.OverSampling = UART_OVERSAMPLING_16;
  if (HAL_UART_Init(&huart6) != HAL_OK)
  {
    Error_Handler();
  }

}

static void MX_GPIO_Init(void)
{
  GPIO_InitTypeDef GPIO_InitStruct = {0};

  /* GPIO Ports Clock Enable */
  __HAL_RCC_GPIOC_CLK_ENABLE();
  __HAL_RCC_GPIOA_CLK_ENABLE();
  __HAL_RCC_GPIOB_CLK_ENABLE();

  /*Configure GPIO pin Output Level */
  HAL_GPIO_WritePin(GPIOC, GPIO_PIN_13, GPIO_PIN_RESET);

  /*Configure GPIO pin Output Level */
  HAL_GPIO_WritePin(GPIOB, GPIO_PIN_12|GPIO_PIN_14, GPIO_PIN_RESET);

  /*Configure GPIO pin : PC13 */
  GPIO_InitStruct.Pin = GPIO_PIN_13;
  GPIO_InitStruct.Mode = GPIO_MODE_OUTPUT_PP;
  GPIO_InitStruct.Pull = GPIO_NOPULL;
  GPIO_InitStruct.Speed = GPIO_SPEED_FREQ_LOW;
  HAL_GPIO_Init(GPIOC, &GPIO_InitStruct);

  /*Configure GPIO pin : PA0 */
  GPIO_InitStruct.Pin = GPIO_PIN_0;
  GPIO_InitStruct.Mode = GPIO_MODE_IT_FALLING;
  GPIO_InitStruct.Pull = GPIO_PULLUP;
  HAL_GPIO_Init(GPIOA, &GPIO_InitStruct);

  /*Configure GPIO pins : PB12 PB14 */
  GPIO_InitStruct.Pin = GPIO_PIN_12|GPIO_PIN_14;
  GPIO_InitStruct.Mode = GPIO_MODE_OUTPUT_PP;
  GPIO_InitStruct.Pull = GPIO_NOPULL;
  GPIO_InitStruct.Speed = GPIO_SPEED_FREQ_LOW;
  HAL_GPIO_Init(GPIOB, &GPIO_InitStruct);

  /* EXTI interrupt init*/
  HAL_NVIC_SetPriority(EXTI0_IRQn, 5, 0);
  HAL_NVIC_EnableIRQ(EXTI0_IRQn);

}

void arm_disarm(void *argument)
{
  /* USER CODE BEGIN 5 */
	int i_oce = 0; //execute once flags
	int j_oce = 0;

	/* Infinite loop */
	for (;;) {

		arm_disarm_task ^= 1;

		if (display_channels[4] > 1900 && i_oce != 1
				&& display_channels[2] < 1100) {

			j_oce = 0;
			arm_flag = 1;
			disarm_flag = 0;

			HAL_TIM_PWM_Start(&htim2, TIM_CHANNEL_1);
			HAL_TIM_PWM_Start(&htim2, TIM_CHANNEL_2);
			HAL_TIM_PWM_Start(&htim2, TIM_CHANNEL_3);

			HAL_TIM_PWM_Start(&htim3, TIM_CHANNEL_1);
			HAL_TIM_PWM_Start(&htim3, TIM_CHANNEL_2);
			HAL_TIM_PWM_Start(&htim3, TIM_CHANNEL_3);
			HAL_TIM_PWM_Start(&htim3, TIM_CHANNEL_4);

			i_oce = 1;

		}
		else if (display_channels[4] < 1900 && j_oce != 1)
		{
			j_oce = 0;

			arm_flag = 0;
			disarm_flag = 1;
			reset_pid();

			HAL_TIM_PWM_Stop(&htim2, TIM_CHANNEL_1);
			HAL_TIM_PWM_Stop(&htim2, TIM_CHANNEL_2);
			HAL_TIM_PWM_Stop(&htim2, TIM_CHANNEL_3);

			HAL_TIM_PWM_Stop(&htim3, TIM_CHANNEL_1);
			HAL_TIM_PWM_Stop(&htim3, TIM_CHANNEL_2);
			HAL_TIM_PWM_Stop(&htim3, TIM_CHANNEL_3);
			HAL_TIM_PWM_Stop(&htim3, TIM_CHANNEL_4);

			j_oce = 1;

		}
		else
		{
			__NOP();
		}

		osDelay(1);
	}
  /* USER CODE END 5 */
}

void mode_handler(void *argument)
{
  /* USER CODE BEGIN mode_handler */

	int i_oce = 0;
	int j_oce = 0;
	int c_oce = 0;

	/* Infinite loop */

	for (;;) {

		uint32_t half_ms;

		if (mode_flag == 0)
		{
			if (!i_oce) {
				QuadTaskHandle = osThreadNew(quad_mode, NULL,
						&QuadTask_attributes);
				osThreadTerminate(FixedWingTaskHandle);
				osThreadTerminate(VtolModeHandle);
				i_oce = 1;
			}
			j_oce = 0;
			c_oce = 0;
			half_ms = 1000;
		}
		else if (mode_flag == 1)
		{
			if (!j_oce)
			{
				FixedWingTaskHandle = osThreadNew(fw_mode, NULL,
						&FixedWingTask_attributes);
				osThreadTerminate(QuadTaskHandle);
				osThreadTerminate(VtolModeHandle);
				j_oce = 1;
			}

			i_oce = 0;
			c_oce = 0;
			half_ms = 334;

		}
		else if (mode_flag == 2)
		{
			if (!c_oce)
			{
				VtolModeHandle = osThreadNew(vtol_task, NULL,
						&VtolMode_attributes);
				osThreadTerminate(QuadTaskHandle);
				osThreadTerminate(FixedWingTaskHandle);
				c_oce = 1;
			}

			i_oce = 0;
			j_oce = 0;
			half_ms = 100;

		}
		else
		{
			__NOP();
		}

		HAL_GPIO_TogglePin(GPIOC, GPIO_PIN_13);
		osDelay(half_ms);

		mode_task ^= 1;

	}
  /* USER CODE END mode_handler */
}

void debounce_task(void *argument)
{
  /* USER CODE BEGIN debounce_task */
	/* Infinite loop */
	for (;;) {

		mode_flag = temp_mode_flag;
		osDelay(1);
		bounce_task ^= 1;

	}
  /* USER CODE END debounce_task */
}

void quad_mode(void *argument)
{
  /* USER CODE BEGIN quad_mode */
	int ThrottleIdle = 1050;

	static int16_t roll_offset = 0;
	static int16_t pitch_offset = 0;
	static int sample_limit = 0;

	HAL_TIM_Base_Start(&htim9);
	HAL_TIM_Base_Start_IT(&htim10);

	/* Infinite loop */

	for (;;) {
		actuator_emergency_stop_latch();
		quad_task ^= 1;
		static float angle_saturation_limit = 20.0f;

		osSemaphoreAcquire(timer_semHandle, osWaitForever);

		now = TIM9->CNT;

		if (now >= last)
		{
			dt_n = now - last;
		}
		else
		{
			dt_n = (65535 - last) + now;
		}

		last = now;

		memcpy(display_channels, (void*) ppm_ready_channels,
				sizeof(ppm_ready_channels));

		ppm_new_data_flag = 0;

		if (sample_limit < 25) {

			roll_offset = display_channels[0] - 1500;
			pitch_offset = display_channels[1] - 1500;

			static int roll_pitch_offset_saturation_limit = 100;

			if (roll_offset > roll_pitch_offset_saturation_limit)
			{
				roll_offset = roll_pitch_offset_saturation_limit;
			}
			if (roll_offset < -roll_pitch_offset_saturation_limit)
			{
					roll_offset = -roll_pitch_offset_saturation_limit;
			}
			if (pitch_offset > roll_pitch_offset_saturation_limit)
			{
			pitch_offset = roll_pitch_offset_saturation_limit;
			}
			if (pitch_offset < -roll_pitch_offset_saturation_limit)
			{
				pitch_offset = -roll_pitch_offset_saturation_limit;
			}

		}

		sample_limit++;

		display_channels[0] -= roll_offset;
		display_channels[1] -= pitch_offset;

		if (display_channels[0] > 1495 && display_channels[0] < 1505)
		{
			display_channels[0] = 1500;
		}
		if (display_channels[1] > 1495 && display_channels[1] < 1505)
		{
			display_channels[1] = 1500;
		}
		if (display_channels[0] < rc_min_us)
		{
			display_channels[0] = rc_min_us;
		}
		if (display_channels[0] > rc_max_us)
		{
			display_channels[0] = rc_max_us;
		}

		if (display_channels[1] <rc_min_us )
		{
			display_channels[1] = rc_min_us;
		}
		if (display_channels[1] > rc_max_us)
		{
			display_channels[1] = rc_max_us;
		}

		if (arm_flag == 1 && disarm_flag == 0) { //stabilize mode

			if (display_channels[7] > 1900) {

				desired_angle_roll = 0.10 * (display_channels[0] - 1500);
				desired_angle_pitch = 0.10 * (display_channels[1] - 1500);

				if (desired_angle_roll > angle_saturation_limit)
				{
					desired_angle_roll = angle_saturation_limit;
				}
				if (desired_angle_roll < -angle_saturation_limit)
				{
					desired_angle_roll = -angle_saturation_limit;
				}

				if (desired_angle_pitch > angle_saturation_limit)
				{
					desired_angle_pitch = angle_saturation_limit;
				}
				if (desired_angle_pitch < -angle_saturation_limit)
				{
					desired_angle_pitch = -angle_saturation_limit;
				}

				input_throttle = display_channels[2];
				desired_rate_yaw = 0.15 * (display_channels[3] - 1500);

				desired_rate_yaw = -desired_rate_yaw;

				//stabilize controller
				mpu_get_kalman_angles(&kalman_roll, &kalman_pitch);

				error_angle_roll = desired_angle_roll - kalman_roll;
				error_angle_pitch = desired_angle_pitch - kalman_pitch;

				pid_equation(error_angle_roll, p_angle_roll_s, i_angle_roll_s,
						d_angle_roll_s, prev_error_angle_roll, prev_iterm_angle_roll);

				desired_rate_roll = PIDReturn[0];
				prev_error_angle_roll = PIDReturn[1];
				prev_iterm_angle_roll = PIDReturn[2];

				pid_equation(error_angle_pitch, p_angle_pitch_s, i_angle_pitch_s,
						d_angle_pitch_s, prev_error_angle_pitch, prev_iterm_angle_pitch);

				desired_rate_pitch = PIDReturn[0];
				prev_error_angle_pitch = PIDReturn[1];
				prev_iterm_angle_pitch = PIDReturn[2];

				mpu_gyro_raw raw_gyro;
			    mpu_gyro_read(&raw_gyro);
				//rate controller
				error_rate_roll = desired_rate_roll
						- (raw_gyro.Gx - calibration_const_global_gx); //x

				error_rate_pitch = desired_rate_pitch
						- (raw_gyro.Gy - calibration_const_global_gy); //y

				error_rate_yaw = desired_rate_yaw
						- (raw_gyro.Gz - calibration_const_global_gz); //z

				pid_equation(error_rate_roll, p_rate_roll_s, i_rate_roll_s,
						d_rate_roll_s, prev_error_rate_roll, prev_iterm_rate_roll);

				input_roll = PIDReturn[0];
				prev_error_rate_roll = PIDReturn[1];
				prev_iterm_rate_roll = PIDReturn[2];

				pid_equation(error_rate_pitch, p_rate_pitch_s, i_rate_pitch_s,
						d_rate_pitch_s, prev_error_rate_pitch, prev_iterm_rate_pitch);

				input_pitch = PIDReturn[0];
				prev_error_rate_pitch = PIDReturn[1];
				prev_iterm_rate_pitch = PIDReturn[2];

				pid_equation(error_rate_yaw, p_rate_yaw_s, i_rate_yaw_s, d_rate_yaw_s,
						prev_error_rate_yaw, prev_iterm_rate_yaw);

				input_yaw = PIDReturn[0];
				prev_error_rate_yaw = PIDReturn[1];
				prev_iterm_rate_yaw = PIDReturn[2];

				M1 = 1.024f
						* (input_throttle - input_roll - input_pitch - input_yaw);
				M2 = 1.024f
						* (input_throttle - input_roll + input_pitch + input_yaw);
				M3 = 1.024f
						* (input_throttle + input_roll + input_pitch - input_yaw);
				M4 = 1.024f
						* (input_throttle + input_roll - input_pitch + input_yaw);

				if (M1 < ThrottleIdle)
				{
					M1 = ThrottleIdle;
				}
				if (M2 < ThrottleIdle)
				{
					M2 = ThrottleIdle;
				}
				if (M3 < ThrottleIdle)
				{
					M3 = ThrottleIdle;
				}
				if (M4 < ThrottleIdle)
				{
					M4 = ThrottleIdle;
				}
				if (M1 > rc_max_us)
				{
					M1 = rc_max_us - 1;
				}
				if (M2 > rc_max_us)
				{
					M2 = rc_max_us - 1;
				}
				if (M3 > rc_max_us)
				{
					M3 = rc_max_us - 1;
				}
				if (M4 > rc_max_us)
				{
					M4 = rc_max_us - 1;
				}

				int ThrottleCutOff = rc_min_us;

				if (display_channels[2] < 1050) {
					M1 = ThrottleCutOff;
					M2 = ThrottleCutOff;
					M3 = ThrottleCutOff;
					M4 = ThrottleCutOff;
					reset_pid();
				}

				set_raw_ccr(M1, 5);
				set_raw_ccr(M4, 7);
				set_raw_ccr(M3, 4);
				set_raw_ccr(M2, 6);

			}
			else if (display_channels[7] < 1300)
			{
				desired_rate_roll = 0.15 * (display_channels[0] - 1500);
				desired_rate_pitch = 0.15 * (display_channels[1] - 1500);
				input_throttle = display_channels[2];
				desired_rate_yaw = 0.15 * (display_channels[3] - 1500);

				desired_rate_yaw = -desired_rate_yaw;

				mpu_get_kalman_angles(&kalman_roll, &kalman_pitch);

				mpu_gyro_raw raw_gyro;
			    mpu_gyro_read(&raw_gyro);

				error_rate_roll = desired_rate_roll
						- (raw_gyro.Gx - calibration_const_global_gx); //x
				error_rate_pitch = desired_rate_pitch
						- (raw_gyro.Gy - calibration_const_global_gy); //y
				error_rate_yaw = desired_rate_yaw
						- (raw_gyro.Gz - calibration_const_global_gz); //z

				p_rate_roll_s = map_rc_to_pid(display_channels[5]);
				p_rate_pitch_s = map_rc_to_pid(display_channels[5]);

				i_rate_roll_s = map_rc_to_pid(display_channels[6]);
				i_rate_pitch_s = map_rc_to_pid(display_channels[6]);

				pid_equation(error_rate_roll, p_rate_roll_s, i_rate_roll_s,
						d_rate_roll_s, prev_error_rate_roll, prev_iterm_rate_roll);
				input_roll = PIDReturn[0];
				prev_error_rate_roll = PIDReturn[1];
				prev_iterm_rate_roll = PIDReturn[2];

				pid_equation(error_rate_pitch, p_rate_pitch_s, i_rate_pitch_s,
						d_rate_pitch_s, prev_error_rate_pitch, prev_iterm_rate_pitch);
				input_pitch = PIDReturn[0];
				prev_error_rate_pitch = PIDReturn[1];
				prev_iterm_rate_pitch = PIDReturn[2];

				pid_equation(error_rate_yaw, p_rate_yaw_s, i_rate_yaw_s, d_rate_yaw_s,
						prev_error_rate_yaw, prev_iterm_rate_yaw);
				input_yaw = PIDReturn[0];
				prev_error_rate_yaw = PIDReturn[1];
				prev_iterm_rate_yaw = PIDReturn[2];

				M1 = 1.024f
						* (input_throttle - input_roll - input_pitch - input_yaw);
				M2 = 1.024f
						* (input_throttle - input_roll + input_pitch + input_yaw);
				M3 = 1.024f
						* (input_throttle + input_roll + input_pitch - input_yaw);
				M4 = 1.024f
						* (input_throttle + input_roll - input_pitch + input_yaw);

				if (M1 < ThrottleIdle)
				{
					M1 = ThrottleIdle;
				}
				if (M2 < ThrottleIdle)
				{
					M2 = ThrottleIdle;
				}
				if (M3 < ThrottleIdle)
				{
					M3 = ThrottleIdle;
				}
				if (M4 < ThrottleIdle)
				{
					M4 = ThrottleIdle;
				}

				// capping maximum m1-4 values - aryan

				if (M1 > rc_max_us)
				{
					M1 = rc_max_us;
				}
				if (M2 > rc_max_us)
				{
					M2 = rc_max_us;
				}
				if (M3 > rc_max_us)
				{
					M3 = rc_max_us;
				}
				if (M4 > rc_max_us)
				{
					M4 = rc_max_us;
				}

				int ThrottleCutOff = 1000;

				if (display_channels[2] < 1050)
				{
					M1 = ThrottleCutOff;
					M2 = ThrottleCutOff;
					M3 = ThrottleCutOff;
					M4 = ThrottleCutOff;
					reset_pid();
				}

				set_raw_ccr(M1, 5); // func 4 is m3
				set_raw_ccr(M4, 7); // func 7 is m4
				set_raw_ccr(M3, 4);  // func 5 is m1
				set_raw_ccr(M2, 6); //func 6 is m2

			}

		}

		//for debugging on MCUViewer and For giving time exceeded warnings in mavlink

	}

  /* USER CODE END quad_mode */
}

void telemetry_task(void *argument)
{
  /* USER CODE BEGIN telemetry_task */

	/* Infinite loop */
	for (;;) {

		telemetery_task ^= 1;

		if (arm_flag == 1 && disarm_flag == 0) {

			alt_ext = bmp280_get_altitude();
			send_heartbeat_armed();
			send_attitude();
			send_battery_info();
			send_status_text(MAV_SEVERITY_INFO, "ARMED!");

		}

		else if (arm_flag == 0 && disarm_flag == 1) {
			/*	-replaced mpu_accel_read() , mpu_gyro_read() to struct-based outputs
				-now it returns a struct with all calibration values , instead of calling multiple functions */

			mpu_accel_raw raw_accel;
			mpu_accel_read(&raw_accel);
			mpu_gyro_raw raw_gyro;
			mpu_gyro_read(&raw_gyro);

			mpu_get_kalman_angles(&kalman_roll, &kalman_pitch);
			g_global_x = raw_gyro.Gx;
			g_global_y = raw_gyro.Gy;
			g_global_z = raw_gyro.Gz;
			a_global_x = raw_accel.Ax;
			a_global_y = raw_accel.Ay;
			a_global_z = raw_accel.Az;
			alt_ext = bmp280_get_altitude();
			send_heartbeat_disarmed();
			send_attitude();
			send_scaled_pressure();

			send_battery_info();
			send_status_text(MAV_SEVERITY_INFO, "DISARMED!");

		}

		osDelay(500); // NOTE : Changed to 500 ms so doesn't consume a lot of cycles

	}
  /* USER CODE END telemetry_task */
}

void fw_mode(void *argument)
{
  /* USER CODE BEGIN fw_mode */
	/* Infinite loop */
	float Gx, Gy;
	float left_elevon;
	float right_elevon;

	float throttle;
	for (;;) {
		actuator_emergency_stop_latch();

		osSemaphoreAcquire(timer_semHandle, osWaitForever);

		if (display_channels[6] > 1900) {

			mpu_get_kalman_angles(&kalman_roll, &kalman_pitch);

			desired_angle_roll = 0.05f * (display_channels[0] - 1500);
			desired_angle_pitch = 0.07f * (display_channels[1] - 1500);

			error_angle_roll = desired_angle_roll - kalman_roll;
			error_angle_pitch = desired_angle_pitch - kalman_pitch;

			desired_rate_roll = p_angle_roll_s * error_angle_roll;
			desired_rate_pitch = p_angle_pitch_s * error_angle_pitch;

			static float rate_saturation_limit = 200.0f;

			if (desired_rate_roll > rate_saturation_limit)
			{
				desired_rate_roll = rate_saturation_limit - 0.1f;
			}
			if (desired_rate_roll < -rate_saturation_limit)
			{
				desired_rate_roll = -rate_saturation_limit + 0.1f;
			}

			if (desired_rate_pitch > rate_saturation_limit)
			{
				desired_rate_pitch = rate_saturation_limit - 0.1f;
			}
			if (desired_rate_pitch < -rate_saturation_limit)
			{
				desired_rate_pitch = -rate_saturation_limit + 0.1f;
			}

			mpu_gyro_raw raw_gyro;
			mpu_gyro_read(&raw_gyro);

			Gx = raw_gyro.Gx - calibration_const_global_gx;
			Gy = raw_gyro.Gy - calibration_const_global_gy;

			error_rate_roll = desired_rate_roll - Gx;
			error_rate_pitch = desired_rate_pitch - Gy;

			pid_equation(error_rate_roll, p_rate_roll_s, i_rate_roll_s, d_rate_roll_s,
					prev_error_rate_roll, prev_iterm_rate_roll);

			input_roll = PIDReturn[0];
			prev_error_rate_roll = PIDReturn[1];
			prev_iterm_rate_roll = PIDReturn[2];

			pid_equation(error_rate_pitch, p_rate_pitch_s, i_rate_pitch_s, d_rate_pitch_s,
					prev_error_rate_pitch, prev_iterm_rate_pitch);

			input_pitch = PIDReturn[0];
			prev_error_rate_pitch = PIDReturn[1];
			prev_iterm_rate_pitch = PIDReturn[2];

			elevon_left = 1500 + (EL_L_DIR * (input_pitch + input_roll));
			elevon_right = 1500 + (EL_R_DIR * (input_pitch - input_roll));

			// Clamp
			if (elevon_left > rc_max_us)
			{
				elevon_left = rc_max_us - 1;
			}
			if (elevon_left < rc_min_us)
			{
				elevon_left = rc_min_us + 1;
			}

			if (elevon_right > rc_max_us)
			{
				elevon_right = rc_max_us - 1;
			}
			if (elevon_right < rc_min_us)
			{
				elevon_right = rc_min_us + 1;
			}

			set_raw_ccr(elevon_left, 4);
			set_raw_ccr(elevon_right, 5);

			input_throttle = display_channels[2];
			set_raw_ccr(input_throttle, 6);

		} else if (display_channels[7] < 1300) {

			left_elevon = range_converter(display_channels[0], rc_min_us, rc_max_us, 5,
					10);
			right_elevon = range_converter(display_channels[1], rc_min_us, rc_max_us, 5,
					10);
			throttle = range_converter(display_channels[2], rc_min_us, rc_max_us, 5, 10);

			set_raw_ccr(throttle, 6);
			set_raw_ccr(left_elevon, 4);
			set_raw_ccr(right_elevon, 5);

		}

	}
  /* USER CODE END fw_mode */
}

void vtol_task(void *argument)
{
  /* USER CODE BEGIN vtol_task */
	/* Infinite loop */
	for (;;) {
		actuator_emergency_stop_latch();
		osDelay(1);
	}
  /* USER CODE END vtol_task */
}

void HAL_TIM_PeriodElapsedCallback(TIM_HandleTypeDef *htim)
{
  if (htim->Instance == TIM11)
  {
    HAL_IncTick();
  }
  /* USER CODE BEGIN Callback 1 */
  if (htim->Instance == TIM10)
    {
  		tim_flag = 1;
  		osSemaphoreRelease(timer_semHandle);
  	}
  /* USER CODE END Callback 1 */
}

void Error_Handler(void)
{
	__disable_irq();
	while (1) {
	}
}
